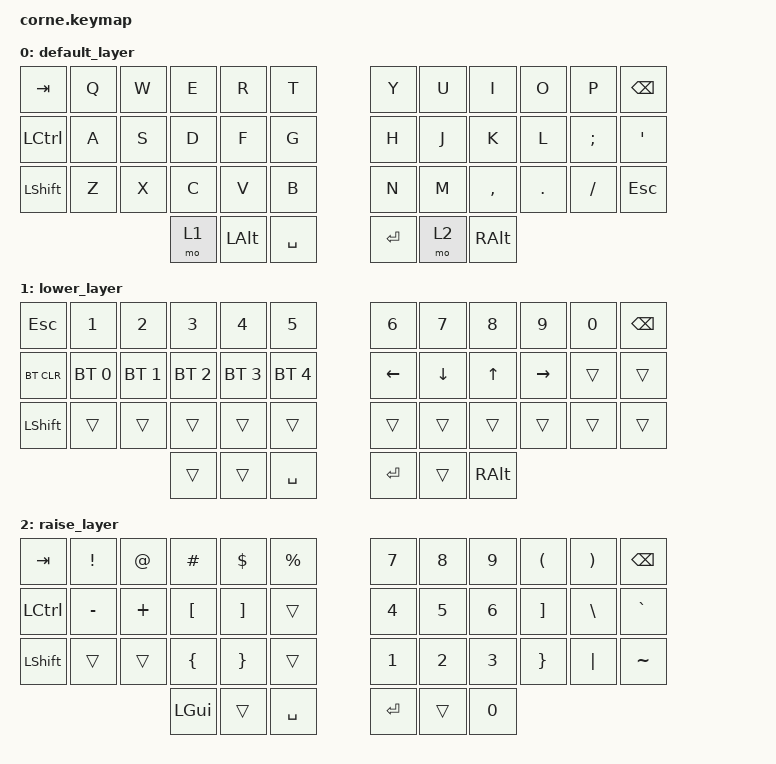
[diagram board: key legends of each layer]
/*
 * Copyright (c) 2020 The ZMK Contributors
 *
 * SPDX-License-Identifier: MIT
 */

#include <behaviors.dtsi>
#include <dt-bindings/zmk/keys.h>
#include <dt-bindings/zmk/bt.h>

/ {
        keymap {
                compatible = "zmk,keymap";

                default_layer {
// -----------------------------------------------------------------------------------------
// |  TAB |  Q  |  W  |  E  |  R  |  T  |   |  Y  |  U   |  I  |  O  |  P  | BKSP |
// | CTRL |  A  |  S  |  D  |  F  |  G  |   |  H  |  J   |  K  |  L  |  ;  |  '   |
// | SHFT |  Z  |  X  |  C  |  V  |  B  |   |  N  |  M   |  ,  |  .  |  /  | ESC  |
//                    | LWR | LALT | SPC |   | ENT | RSE  | ALT |
                        bindings = <
   &kp TAB   &kp Q &kp W &kp E &kp R &kp T   &kp Y &kp U  &kp I     &kp O   &kp P    &kp BSPC
   &kp LCTRL &kp A &kp S &kp D &kp F &kp G   &kp H &kp J  &kp K     &kp L   &kp SEMI &kp SQT
   &kp LSHFT &kp Z &kp X &kp C &kp V &kp B   &kp N &kp M  &kp COMMA &kp DOT &kp FSLH &kp ESC
                  &mo 1 &kp LALT &kp SPACE   &kp RET &mo 2 &kp RALT
                        >;
                };
                lower_layer {
// -----------------------------------------------------------------------------------------
// |  ESC |  1  |  2  |  3  |  4  |  5  |   |  6  |  7  |  8  |  9  |  0  | BKSP |
// | BTCLR| BT1 | BT2 | BT3 | BT4 | BT5 |   | LFT | DWN |  UP | RGT |     |      |
// | SHFT |     |     |     |     |     |   |     |     |     |     |     |      |
//                    |     |     | SPC |   | ENT |     | ALT |
                        bindings = <
   &kp ESC    &kp N1       &kp N2       &kp N3       &kp N4       &kp N5         &kp N6   &kp N7   &kp N8 &kp N9    &kp N0 &kp BSPC
   &bt BT_CLR &bt BT_SEL 0 &bt BT_SEL 1 &bt BT_SEL 2 &bt BT_SEL 3 &bt BT_SEL 4   &kp LEFT &kp DOWN &kp UP &kp RIGHT &trans &trans
   &kp LSHFT  &trans       &trans       &trans       &trans       &trans         &trans   &trans   &trans &trans    &trans &trans
                                    &trans     &trans       &kp SPACE      &kp RET  &trans   &kp RALT
                        >;
                };

                raise_layer {
// -----------------------------------------------------------------------------------------
// |  TAB |  !  |  @  |  #  |  $  |  %  |   |  7  |  8  |  9  |  (  |  )  | BKSP |
// | CTRL |  -  |  +  |  [  |  ]  |     |   |  4  |  5  |  6  |    |  \  |  `   |
// | SHFT |     |     |  {  |  }  |     |   |  1  |  2  |  3  |    | "|" |  ~   |
//                    | GUI |     | SPC |   | ENT |     |  0  |
                        bindings = <
   &kp  TAB  &kp EXCL &kp AT &kp HASH &kp DLLR &kp PRCNT   &kp N7 &kp N8  &kp N9 &kp LPAR &kp RPAR &kp BSPC
   &kp LCTRL &kp MINUS   &kp PLUS &kp LBKT   &kp RBKT   &trans      &kp N4 &kp N5 &kp N6        &kp RBKT &kp BSLH &kp GRAVE
   &kp LSHFT &trans   &trans &kp LBRC   &kp RBRC   &trans      &kp N1 &kp N2  &kp N3        &kp RBRC &kp PIPE &kp TILDE
                             &kp LGUI &trans   &kp SPACE   &kp RET   &trans    &kp N0
                        >;
                };
        };
};

